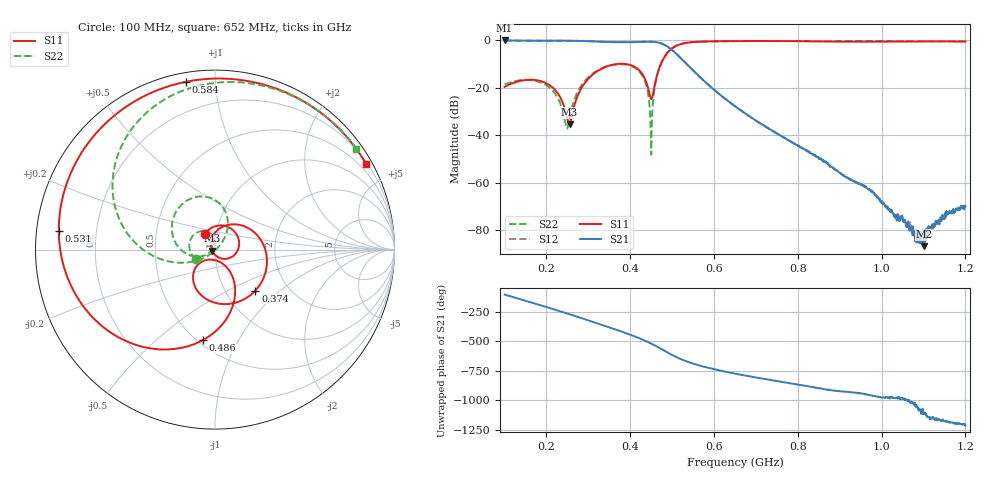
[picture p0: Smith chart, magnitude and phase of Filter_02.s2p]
! Rohde & Schwarz Vector Network Analyzer
! Rohde-Schwarz,ZNB8-4Port,1334333044101560,3.72
! Port Assignments:
! Nominal Port -> Actual Test Port
!  1 -> 1
!  2 -> 2
! Created: GMT 2024-12-03 15:22:23
# Hz S DB R 50
! freq[Hz]  S11[mag dB]  S11[ang]  S21[mag dB]  S21[ang]  S12[mag dB]  S12[ang]  S22[mag dB]  S22[ang]
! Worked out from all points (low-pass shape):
!   1101 points, 100 MHz to 1.2 GHz, reference 50 ohm
!   highest |S21| = -0.03 dB at 100 MHz (marker M1); lowest = -86.8 dB at 1.102 GHz (marker M2)
!   |S21| within 3 dB of the highest: start of sweep to 492.3 MHz
!   lowest |S11| = -35.5 dB at 255 MHz (marker M3), VSWR 1.03, Z = 48.4 - j0.522 ohm
!   |S11| at or under -10 dB: start of sweep to 366.8 MHz; 390.3 MHz to 473 MHz (82.76 MHz wide, 19.2 % of centre)
!   |S22| runs from -48.3 to -0.3 dB; largest |S21 - S12| = 0.0037
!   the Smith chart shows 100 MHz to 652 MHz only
!   S11 on the Smith chart (normalised r, x): 100 MHz: 0.88, +0.16; 374 MHz: 1.37, -0.70; 486 MHz: 0.53, -0.72; 531 MHz: 0.07, +0.06; 584 MHz: 0.04, +0.84; 652 MHz: 0.25, +3.76
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1e8  -19.64 122.0  -0.03 -104.6  -0.03 -104.6  -18.55 -153.4
1.77e8  -16.81 24.9  -0.14 174.6  -0.13 174.6  -17.20 136.0
2.23e8  -21.39 -36.3  -0.12 124.8  -0.12 124.8  -23.16 97.7
2.55e8  -35.47 -161.3  -0.14 88.9  -0.13 88.9  -32.79 -161.3
2.84e8  -19.93 86.7  -0.24 55.5  -0.23 55.5  -18.81 -160.2
3.29e8  -12.18 20.1  -0.53 2.8  -0.52 2.8  -11.98 160.4
3.74e8  -9.89 -45.5  -0.77 -51.2  -0.77 -51.3  -10.04 120.0
4.28e8  -14.03 -128.0  -0.61 -123.5  -0.61 -123.5  -14.68 67.8
4.49e8  -24.54 -110.5  -0.56 -157.4  -0.56 -157.4  -39.99 23.5
4.67e8  -12.88 -61.0  -0.93 169.3  -0.93 169.2  -12.96 -161.3
4.86e8  -5.86 -97.7  -2.30 131.2  -2.30 131.1  -5.81 167.9
5.31e8  -1.14 173.1  -9.35 54.8  -9.38 54.8  -1.07 108.2
5.84e8  -0.46 99.9  -18.39 -2.5  -18.40 -2.4  -0.40 68.2
6.5e8  -0.29 31.6  -27.76 -53.1  -27.79 -53.1  -0.28 36.4
6.52e8  -0.29 29.7  -28.05 -54.6  -28.04 -54.5  -0.28 35.5
7.02e8  -0.25 -15.8  -34.06 -86.7  -34.04 -87.2  -0.26 17.1
7.57e8  -0.28 -64.7  -39.98 -120.1  -40.05 -120.2  -0.26 -0.1
8.34e8  -0.41 -134.4  -47.84 -166.8  -47.77 -166.5  -0.26 -20.7
9.08e8  -0.53 159.8  -56.90 155.3  -56.96 155.4  -0.27 -37.6
1.017e9  -0.52 75.0  -71.47 102.2  -70.94 107.3  -0.27 -59.0
1.102e9  -0.47 18.5  -86.84 -30.5  -82.66 -33.5  -0.26 -73.5
1.2e9  -0.49 -44.0  -69.95 -131.2  -69.69 -126.7  -0.27 -88.5
